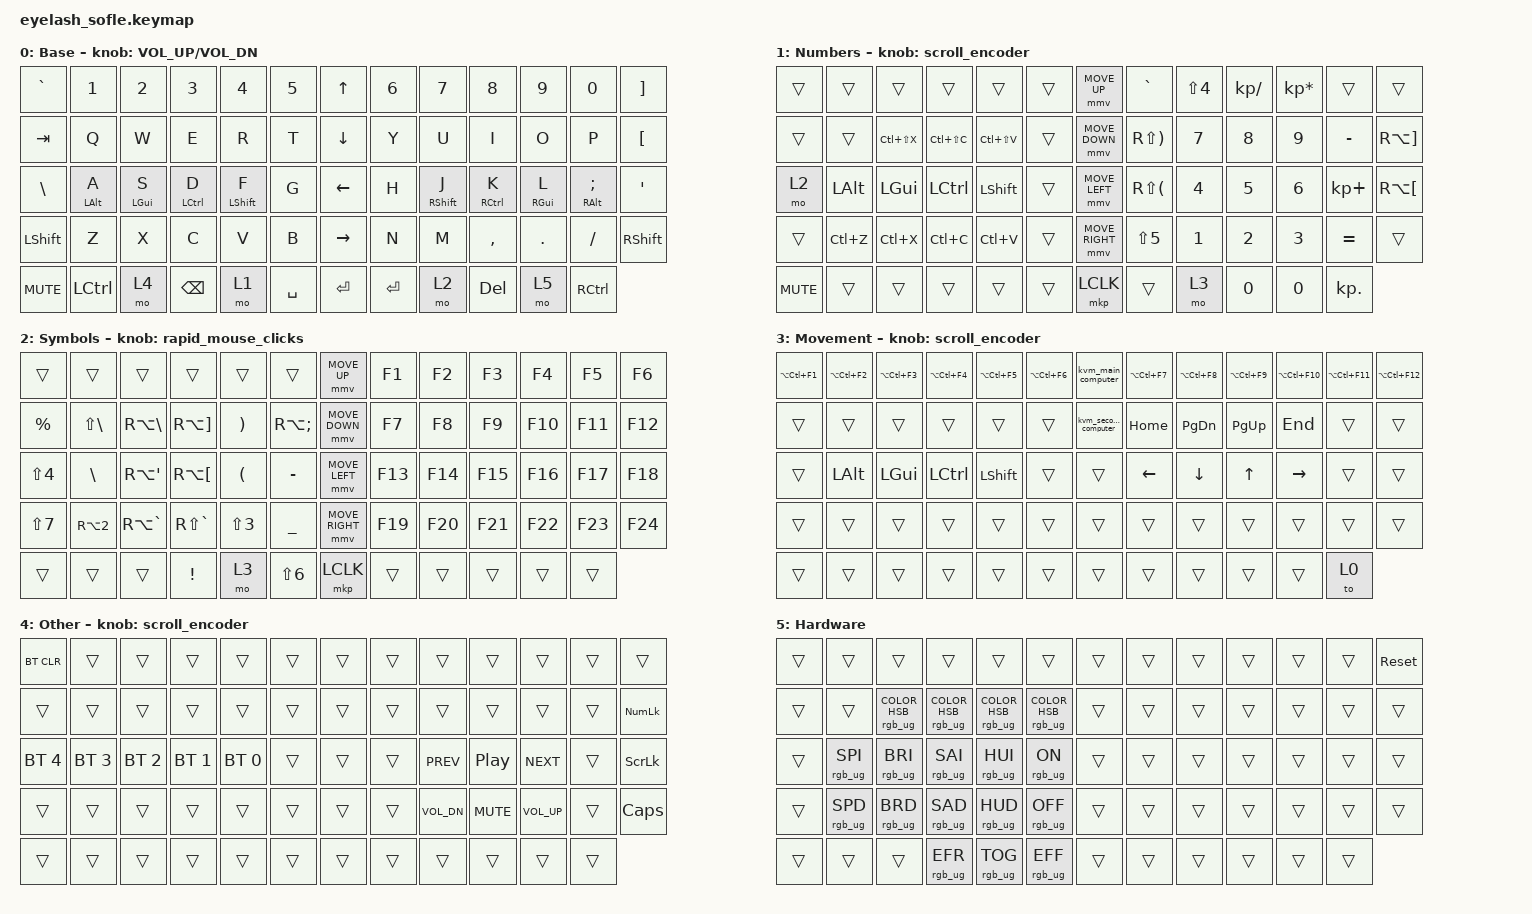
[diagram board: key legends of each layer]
#define ZMK_POINTING_DEFAULT_MOVE_VAL 1200  // 600
#define ZMK_POINTING_DEFAULT_SCRL_VAL 25   // 10

#include <input/processors.dtsi>
#include <zephyr/dt-bindings/input/input-event-codes.h>
#include <behaviors.dtsi>
#include <dt-bindings/zmk/bt.h>
#include <dt-bindings/zmk/keys.h>
#include <dt-bindings/zmk/pointing.h>
#include <dt-bindings/zmk/rgb.h>

&mmv_input_listener { input-processors = <&zip_xy_scaler 2 1>; };

&msc_input_listener { input-processors = <&zip_scroll_scaler 2 1>; };

&msc {
    acceleration-exponent = <1>;      // 0
    time-to-max-speed-ms = <100>;       // 300
    delay-ms = <0>;                   // 0
};

&mmv {
    time-to-max-speed-ms = <500>;
    acceleration-exponent = <1>;
    trigger-period-ms = <16>;
};

&soft_off { hold-time-ms = <2000>; };

&mt {
    tapping-term-ms = <250>;
    quick-tap-ms = <200>;
    flavor = "tap-preferred";
};

/ {
    scroll_encoder: scroll_encoder {
        compatible = "zmk,behavior-sensor-rotate";
        #sensor-binding-cells = <0>;
        bindings = <&msc SCRL_DOWN>, <&msc SCRL_UP>;

        tap-ms = <100>;
    };

    hml: hml {
        compatible = "zmk,behavior-hold-tap";
        label = "HML";
        bindings = <&kp>, <&kp>;

        #binding-cells = <2>;
        tapping-term-ms = <280>;
        quick-tap-ms = <175>;
        require-prior-idle-ms = <150>;
        flavor = "balanced";
        hold-trigger-on-release;
        hold-trigger-key-positions = <7 20 46 33 59 60 61 47 34 21 9 22 8 10 11 12 25 38 24 23 35 48 62 36 49 63 37 50 51 6 19 32 45 58>;
    };

    hmr: hmr {
        compatible = "zmk,behavior-hold-tap";
        label = "HMR";
        bindings = <&kp>, <&kp>;

        #binding-cells = <2>;
        tapping-term-ms = <280>;
        quick-tap-ms = <175>;
        require-prior-idle-ms = <150>;
        flavor = "balanced";
        hold-trigger-on-release;
        hold-trigger-key-positions = <0 1 2 3 4 5 13 14 15 16 17 18 26 27 28 29 30 31 39 40 41 42 43 44 53 54 55 56 57 52>;
    };

    rapid_mouse_clicks: rapid_mouse_clicks {
        compatible = "zmk,behavior-sensor-rotate";
        label = "RAPID_MOUSE_CLICKS";
        #sensor-binding-cells = <0>;
        bindings = <&mkp LCLK>, <&mkp LCLK>;
    };

    behaviors {
    };

    combos {
        compatible = "zmk,combos";

        softoff {
            bindings = <&soft_off>;
            key-positions = <5 31 56>;
        };

        escape_dual_keypress {
            bindings = <&kp ESC>;
            key-positions = <0 1>;
        };

        combo_print_screen {
            bindings = <&kp PSCRN>;
            key-positions = <11 12>;
        };

        movement_layer {
            bindings = <&mo 3>;
            key-positions = <55 61>;
        };
    };

    macros {
        kvm_main_computer: kvm_main_computer {
            compatible = "zmk,behavior-macro";
            #binding-cells = <0>;
            bindings = <&kp SLCK &kp SLCK &kp NUMBER_1>;
            label = "KVM_MAIN_COMPUTER";
            wait-ms = <100>;
            tap-ms = <100>;
        };

        kvm_second_computer: kvm_second_computer {
            compatible = "zmk,behavior-macro";
            #binding-cells = <0>;
            bindings = <&kp SLCK &kp SLCK &kp NUMBER_2>;
            label = "KVM_SECOND_COMPUTER";
            wait-ms = <100>;
            tap-ms = <100>;
        };
    };

    keymap {
        compatible = "zmk,keymap";

        default_layer {
            bindings = <
&kp GRAVE      &kp N1           &kp N2          &kp N3         &kp N4             &kp N5       &kp UP_ARROW     &kp N6     &kp N7              &kp N8        &kp N9           &kp N0               &kp RIGHT_BRACKET
&kp TAB        &kp Q            &kp W           &kp E          &kp R              &kp T        &kp DOWN_ARROW   &kp Y      &kp U               &kp I         &kp O            &kp P                &kp LEFT_BRACKET
&kp BACKSLASH  &hml LEFT_ALT A  &mt LEFT_GUI S  &hml LCTRL D   &hml LEFT_SHIFT F  &kp G        &kp LEFT_ARROW   &kp H      &hmr RIGHT_SHIFT J  &hmr RCTRL K  &mt RIGHT_GUI L  &hmr RIGHT_ALT SEMI  &kp APOS
&kp LSHFT      &kp Z            &kp X           &kp C          &kp V              &kp B        &kp RIGHT_ARROW  &kp N      &kp M               &kp COMMA     &kp DOT          &kp FSLH             &kp RIGHT_SHIFT
&kp C_MUTE     &kp LCTRL        &mo 4           &kp BACKSPACE  &mo 1              &kp SPACE    &kp ENTER        &kp ENTER  &mo 2               &kp DELETE    &mo 5            &kp RCTRL
            >;

            sensor-bindings = <&inc_dec_kp C_VOLUME_UP C_VOL_DN>;
            display-name = "Base";
        };

        Numbers {
            bindings = <
&trans      &trans     &trans         &trans         &trans          &trans    &mmv MOVE_UP     &kp GRAVE         &kp LS(NUMBER_4)  &kp KP_SLASH  &kp KP_MULTIPLY  &trans       &trans
&trans      &trans     &kp LC(LS(X))  &kp LC(LS(C))  &kp LC(LS(V))   &trans    &mmv MOVE_DOWN   &kp RS(RPAR)      &kp NUMBER_7      &kp NUMBER_8  &kp NUMBER_9     &kp MINUS    &kp RA(RBKT)
&mo 2       &kp LALT   &kp LGUI       &kp LCTRL      &kp LEFT_SHIFT  &trans    &mmv MOVE_LEFT   &kp RS(LPAR)      &kp NUMBER_4      &kp NUMBER_5  &kp NUMBER_6     &kp KP_PLUS  &kp RA(LBKT)
&trans      &kp LC(Z)  &kp LC(X)      &kp LC(C)      &kp LC(V)       &trans    &mmv MOVE_RIGHT  &kp LS(NUMBER_5)  &kp NUMBER_1      &kp NUMBER_2  &kp NUMBER_3     &kp EQUAL    &trans
&kp C_MUTE  &trans     &trans         &trans         &trans          &trans    &mkp LCLK        &trans            &mo 3             &kp NUMBER_0  &kp NUMBER_0     &kp KP_DOT
            >;

            display-name = "Numbers";
            sensor-bindings = <&scroll_encoder>;
        };

        Symbols {
            bindings = <
&trans            &trans             &trans                &trans           &trans            &trans               &mmv MOVE_UP     &kp F1   &kp F2   &kp F3   &kp F4   &kp F5   &kp F6
&kp PERCENT       &kp LS(BACKSLASH)  &kp RA(BACKSLASH)     &kp RA(RBKT)     &kp RPAR          &kp RA(SEMICOLON)    &mmv MOVE_DOWN   &kp F7   &kp F8   &kp F9   &kp F10  &kp F11  &kp F12
&kp LS(NUMBER_4)  &kp BACKSLASH      &kp RA(SINGLE_QUOTE)  &kp RA(LBKT)     &kp LPAR          &kp MINUS            &mmv MOVE_LEFT   &kp F13  &kp F14  &kp F15  &kp F16  &kp F17  &kp F18
&kp LS(NUMBER_7)  &kp RA(NUMBER_2)   &kp RA(GRAVE)         &kp RS(GRAVE)    &kp LS(NUMBER_3)  &kp UNDERSCORE       &mmv MOVE_RIGHT  &kp F19  &kp F20  &kp F21  &kp F22  &kp F23  &kp F24
&trans            &trans             &trans                &kp EXCLAMATION  &mo 3             &kp LS(NUMBER_6)     &mkp LCLK        &trans   &trans   &trans   &trans   &trans
            >;

            display-name = "Symbols";
            sensor-bindings = <&rapid_mouse_clicks>;
        };

        Movement {
            bindings = <
&kp LA(LC(F1))  &kp LA(LC(F2))  &kp LA(LC(F3))  &kp LA(LC(F4))  &kp LA(LC(F5))  &kp LA(LC(F6))    &kvm_main_computer    &kp LA(LC(F7))  &kp LA(LC(F8))  &kp LA(LC(F9))  &kp LA(LC(F10))  &kp LA(LC(F11))  &kp LA(LC(F12))
&trans          &trans          &trans          &trans          &trans          &trans            &kvm_second_computer  &kp HOME        &kp PG_DN       &kp PG_UP       &kp END          &trans           &trans
&trans          &kp LALT        &kp LGUI        &kp LCTRL       &kp LSHFT       &trans            &trans                &kp LEFT        &kp DOWN        &kp UP          &kp RIGHT        &trans           &trans
&trans          &trans          &trans          &trans          &trans          &trans            &trans                &trans          &trans          &trans          &trans           &trans           &trans
&trans          &trans          &trans          &trans          &trans          &trans            &trans                &trans          &trans          &trans          &trans           &to 0
            >;

            display-name = "Movement";
            sensor-bindings = <&scroll_encoder>;
        };

        Other {
            bindings = <
&bt BT_CLR    &trans        &trans        &trans        &trans        &trans    &trans  &trans  &trans        &trans      &trans        &trans  &trans
&trans        &trans        &trans        &trans        &trans        &trans    &trans  &trans  &trans        &trans      &trans        &trans  &kp KP_NUM
&bt BT_SEL 4  &bt BT_SEL 3  &bt BT_SEL 2  &bt BT_SEL 1  &bt BT_SEL 0  &trans    &trans  &trans  &kp C_PREV    &kp C_PP    &kp C_NEXT    &trans  &kp SCROLLLOCK
&trans        &trans        &trans        &trans        &trans        &trans    &trans  &trans  &kp C_VOL_DN  &kp K_MUTE  &kp C_VOL_UP  &trans  &kp CAPSLOCK
&trans        &trans        &trans        &trans        &trans        &trans    &trans  &trans  &trans        &trans      &trans        &trans
            >;

            display-name = "Other";
            sensor-bindings = <&scroll_encoder>;
        };

        Hardware {
            bindings = <
&trans  &trans           &trans                            &trans                         &trans                           &trans                              &trans  &trans  &trans  &trans  &trans  &trans  &sys_reset
&trans  &trans           &rgb_ug RGB_COLOR_HSB(176,62,55)  &rgb_ug RGB_COLOR_HSB(0,0,97)  &rgb_ug RGB_COLOR_HSB(0,100,48)  &rgb_ug RGB_COLOR_HSB(291,67,40)    &trans  &trans  &trans  &trans  &trans  &trans  &trans
&trans  &rgb_ug RGB_SPI  &rgb_ug RGB_BRI                   &rgb_ug RGB_SAI                &rgb_ug RGB_HUI                  &rgb_ug RGB_ON                      &trans  &trans  &trans  &trans  &trans  &trans  &trans
&trans  &rgb_ug RGB_SPD  &rgb_ug RGB_BRD                   &rgb_ug RGB_SAD                &rgb_ug RGB_HUD                  &rgb_ug RGB_OFF                     &trans  &trans  &trans  &trans  &trans  &trans  &trans
&trans  &trans           &trans                            &rgb_ug RGB_EFR                &rgb_ug RGB_TOG                  &rgb_ug RGB_EFF                     &trans  &trans  &trans  &trans  &trans  &trans
            >;

            label = "Hardware";
        };
    };
};
